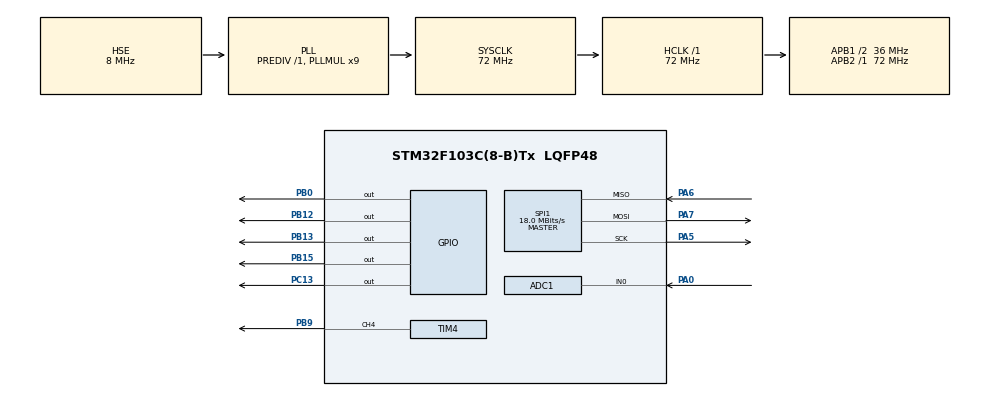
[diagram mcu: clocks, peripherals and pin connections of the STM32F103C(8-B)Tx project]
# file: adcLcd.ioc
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ADC1.Channel-0\#ChannelRegularConversion=ADC_CHANNEL_0
ADC1.DataAlign=ADC_DATAALIGN_LEFT
ADC1.ExternalTrigConv=ADC_EXTERNALTRIGCONV_T3_TRGO
ADC1.NbrOfConversionFlag=1
ADC1.Rank-0\#ChannelRegularConversion=1
ADC1.SamplingTime-0\#ChannelRegularConversion=ADC_SAMPLETIME_28CYCLES_5
ADC1.master=1
Dma.ADC1.0.Direction=DMA_PERIPH_TO_MEMORY
Dma.ADC1.0.Instance=DMA1_Channel1
Dma.ADC1.0.MemDataAlignment=DMA_MDATAALIGN_BYTE
Dma.ADC1.0.MemInc=DMA_MINC_ENABLE
Dma.ADC1.0.Mode=DMA_CIRCULAR
Dma.ADC1.0.PeriphDataAlignment=DMA_PDATAALIGN_BYTE
Dma.ADC1.0.PeriphInc=DMA_PINC_DISABLE
Dma.ADC1.0.Priority=DMA_PRIORITY_LOW
Dma.Request0=ADC1
Mcu.Family=STM32F1
Mcu.Name=STM32F103C(8-B)Tx
Mcu.Package=LQFP48
NVIC.ADC1_2_IRQn=true\:0\:0\:false\:false\:true\:true\:true
NVIC.DMA1_Channel1_IRQn=true\:0\:0\:false\:false\:true\:false\:true
NVIC.PriorityGroup=NVIC_PRIORITYGROUP_4
NVIC.TIM4_IRQn=true\:0\:0\:false\:false\:true\:true\:true
PA0-WKUP.Signal=ADCx_IN0
PA13.Mode=Serial_Wire
PA13.Signal=SYS_JTMS-SWDIO
PA14.Mode=Serial_Wire
PA14.Signal=SYS_JTCK-SWCLK
PA5.Mode=Full_Duplex_Master
PA5.Signal=SPI1_SCK
PA6.Mode=Full_Duplex_Master
PA6.Signal=SPI1_MISO
PA7.Mode=Full_Duplex_Master
PA7.Signal=SPI1_MOSI
PB0.Signal=GPIO_Output
PB12.Signal=GPIO_Output
PB13.Signal=GPIO_Output
PB15.Signal=GPIO_Output
PB9.Signal=S_TIM4_CH4
PC13-TAMPER-RTC.Signal=GPIO_Output
PD0-OSC_IN.Mode=HSE-External-Oscillator
PD0-OSC_IN.Signal=RCC_OSC_IN
PD1-OSC_OUT.Mode=HSE-External-Oscillator
PD1-OSC_OUT.Signal=RCC_OSC_OUT
ProjectManager.HeapSize=0x200
ProjectManager.StackSize=0x400
ProjectManager.TargetToolchain=STM32CubeIDE
RCC.ADCPresc=RCC_ADCPCLK2_DIV6
RCC.AHBFreq_Value=72000000
RCC.APB1CLKDivider=RCC_HCLK_DIV2
RCC.APB1Freq_Value=36000000
RCC.APB1TimFreq_Value=72000000
RCC.APB2Freq_Value=72000000
RCC.APB2TimFreq_Value=72000000
RCC.HCLKFreq_Value=72000000
RCC.PLLMUL=RCC_PLL_MUL9
RCC.PLLSourceVirtual=RCC_PLLSOURCE_HSE
RCC.SYSCLKFreq_VALUE=72000000
RCC.SYSCLKSource=RCC_SYSCLKSOURCE_PLLCLK
RCC.USBFreq_Value=72000000
SH.ADCx_IN0.0=ADC1_IN0,IN0
SH.S_TIM4_CH4.0=TIM4_CH4,PWM Generation4 CH4
SPI1.BaudRatePrescaler=SPI_BAUDRATEPRESCALER_4
SPI1.CalculateBaudRate=18.0 MBits/s
SPI1.Direction=SPI_DIRECTION_2LINES
SPI1.Mode=SPI_MODE_MASTER
SPI1.VirtualType=VM_MASTER
TIM2.Period=10000
TIM2.Prescaler=7200
TIM3.Period=1000
TIM3.Prescaler=9-1
TIM3.TIM_MasterOutputTrigger=TIM_TRGO_UPDATE
TIM4.Channel-PWM\ Generation4\ CH4=TIM_CHANNEL_4
TIM4.Period=1000-1
TIM4.Prescaler=9-1
TIM4.Pulse-PWM\ Generation4\ CH4=400
VP_TIM2_VS_ClockSourceINT.Mode=Internal
VP_TIM3_VS_ClockSourceINT.Mode=Internal
VP_TIM4_VS_ClockSourceINT.Mode=Internal
board=custom

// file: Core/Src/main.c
/* USER CODE BEGIN Header */
/**
  ******************************************************************************
  * @file           : main.c
  * @brief          : Main program body
  ******************************************************************************
  * @attention
  *
  * <h2><center>&copy; Copyright (c) 2020 STMicroelectronics.
  * All rights reserved.</center></h2>
  *
  * This software component is licensed by ST under BSD 3-Clause license,
  * the "License"; You may not use this file except in compliance with the
  * License. You may obtain a copy of the License at:
  *                        opensource.org/licenses/BSD-3-Clause
  *
  ******************************************************************************
  */
/* USER CODE END Header */
#include "main.h"

/* USER CODE BEGIN Includes */
#include "st7735.h"
#include "sine.h"

/* USER CODE END Includes */

/* USER CODE BEGIN PTD */
#define bufSize 256

/* USER CODE END PTD */

ADC_HandleTypeDef hadc1;
DMA_HandleTypeDef hdma_adc1;

SPI_HandleTypeDef hspi1;

TIM_HandleTypeDef htim2;
TIM_HandleTypeDef htim3;
TIM_HandleTypeDef htim4;

void SystemClock_Config(void);
static void MX_GPIO_Init(void);
static void MX_DMA_Init(void);
static void MX_TIM2_Init(void);
static void MX_SPI1_Init(void);
static void MX_ADC1_Init(void);
static void MX_TIM3_Init(void);
static void MX_TIM4_Init(void);

/* USER CODE BEGIN 0 */
uint8_t r = 0;

extern uint8_t sine[];
extern uint8_t line[];

uint8_t adcBuf[bufSize];
uint8_t printBuff[160];
volatile uint8_t playCnt;

void HAL_ADC_ConvCpltCallback(ADC_HandleTypeDef* hadc){
//	HAL_TIM_Base_Stop(&htim3);
//	ST7735_FillScreen(ST7735_BLACK);
//
//	ST7735_DrawLine(1, 1, 1, 32, ST7735_WHITE);

	for(int i = 0; i < 160; i++){
		uint8_t val = (127 + ((127 - adcBuf[i]) << 2))/2;
		ST7735_DrawPixel(val, i, ST7735_WHITE);
		printBuff[i] = val;
	}

	for(int i = 0; i < 160; i++){
		ST7735_DrawPixel(printBuff[i], i, ST7735_BLACK);
	}

//	HAL_Delay(1);

//	HAL_TIM_Base_Start(&htim3);

}

void HAL_TIM_PWM_PulseFinishedCallback(TIM_HandleTypeDef *htim){
//	HAL_GPIO_TogglePin(GPIOC, GPIO_PIN_13);

	TIM4->CCR4 = 0x7f + ((0x7f - adcBuf[playCnt]) << 1);
	playCnt = (playCnt + 1 );
//	TIM4->CCR4 = cnt++;
}

/* USER CODE END 0 */

int main(void)
{

  /* MCU Configuration--------------------------------------------------------*/

  /* Reset of all peripherals, Initializes the Flash interface and the Systick. */
  HAL_Init();

  /* Configure the system clock */
  SystemClock_Config();

  /* Initialize all configured peripherals */
  MX_GPIO_Init();
  MX_DMA_Init();
  MX_TIM2_Init();
  MX_SPI1_Init();
  MX_ADC1_Init();
  MX_TIM3_Init();
  MX_TIM4_Init();
  /* USER CODE BEGIN 2 */

  ST7735_Init();
  ST7735_Backlight_On();

  ST7735_SetRotation(r);

  ST7735_FillScreen(ST7735_BLACK);

  HAL_TIM_Base_Start(&htim3);
//  HAL_TIM_PWM_Start_IT(&htim4, TIM_CHANNEL_4);
  HAL_ADC_Start_DMA(&hadc1, adcBuf, bufSize);
  uint32_t ADC_DR = hdma_adc1.Instance->CPAR;
  hdma_adc1.Instance->CPAR = ADC_DR+1;

  playCnt = 0;
  /* USER CODE END 2 */

  /* Infinite loop */
  while (1)
  {

  }
}

void SystemClock_Config(void)
{
  RCC_OscInitTypeDef RCC_OscInitStruct = {0};
  RCC_ClkInitTypeDef RCC_ClkInitStruct = {0};
  RCC_PeriphCLKInitTypeDef PeriphClkInit = {0};

  /** Initializes the RCC Oscillators according to the specified parameters
  * in the RCC_OscInitTypeDef structure.
  */
  RCC_OscInitStruct.OscillatorType = RCC_OSCILLATORTYPE_HSE;
  RCC_OscInitStruct.HSEState = RCC_HSE_ON;
  RCC_OscInitStruct.HSEPredivValue = RCC_HSE_PREDIV_DIV1;
  RCC_OscInitStruct.HSIState = RCC_HSI_ON;
  RCC_OscInitStruct.PLL.PLLState = RCC_PLL_ON;
  RCC_OscInitStruct.PLL.PLLSource = RCC_PLLSOURCE_HSE;
  RCC_OscInitStruct.PLL.PLLMUL = RCC_PLL_MUL9;
  if (HAL_RCC_OscConfig(&RCC_OscInitStruct) != HAL_OK)
  {
    Error_Handler();
  }
  /** Initializes the CPU, AHB and APB buses clocks
  */
  RCC_ClkInitStruct.ClockType = RCC_CLOCKTYPE_HCLK|RCC_CLOCKTYPE_SYSCLK
                              |RCC_CLOCKTYPE_PCLK1|RCC_CLOCKTYPE_PCLK2;
  RCC_ClkInitStruct.SYSCLKSource = RCC_SYSCLKSOURCE_PLLCLK;
  RCC_ClkInitStruct.AHBCLKDivider = RCC_SYSCLK_DIV1;
  RCC_ClkInitStruct.APB1CLKDivider = RCC_HCLK_DIV2;
  RCC_ClkInitStruct.APB2CLKDivider = RCC_HCLK_DIV1;

  if (HAL_RCC_ClockConfig(&RCC_ClkInitStruct, FLASH_LATENCY_2) != HAL_OK)
  {
    Error_Handler();
  }
  PeriphClkInit.PeriphClockSelection = RCC_PERIPHCLK_ADC;
  PeriphClkInit.AdcClockSelection = RCC_ADCPCLK2_DIV6;
  if (HAL_RCCEx_PeriphCLKConfig(&PeriphClkInit) != HAL_OK)
  {
    Error_Handler();
  }
}

static void MX_ADC1_Init(void)
{

  ADC_ChannelConfTypeDef sConfig = {0};

  /** Common config
  */
  hadc1.Instance = ADC1;
  hadc1.Init.ScanConvMode = ADC_SCAN_DISABLE;
  hadc1.Init.ContinuousConvMode = DISABLE;
  hadc1.Init.DiscontinuousConvMode = DISABLE;
  hadc1.Init.ExternalTrigConv = ADC_EXTERNALTRIGCONV_T3_TRGO;
  hadc1.Init.DataAlign = ADC_DATAALIGN_LEFT;
  hadc1.Init.NbrOfConversion = 1;
  if (HAL_ADC_Init(&hadc1) != HAL_OK)
  {
    Error_Handler();
  }
  /** Configure Regular Channel
  */
  sConfig.Channel = ADC_CHANNEL_0;
  sConfig.Rank = ADC_REGULAR_RANK_1;
  sConfig.SamplingTime = ADC_SAMPLETIME_28CYCLES_5;
  if (HAL_ADC_ConfigChannel(&hadc1, &sConfig) != HAL_OK)
  {
    Error_Handler();
  }

}

static void MX_SPI1_Init(void)
{

  /* SPI1 parameter configuration*/
  hspi1.Instance = SPI1;
  hspi1.Init.Mode = SPI_MODE_MASTER;
  hspi1.Init.Direction = SPI_DIRECTION_2LINES;
  hspi1.Init.DataSize = SPI_DATASIZE_8BIT;
  hspi1.Init.CLKPolarity = SPI_POLARITY_LOW;
  hspi1.Init.CLKPhase = SPI_PHASE_1EDGE;
  hspi1.Init.NSS = SPI_NSS_SOFT;
  hspi1.Init.BaudRatePrescaler = SPI_BAUDRATEPRESCALER_4;
  hspi1.Init.FirstBit = SPI_FIRSTBIT_MSB;
  hspi1.Init.TIMode = SPI_TIMODE_DISABLE;
  hspi1.Init.CRCCalculation = SPI_CRCCALCULATION_DISABLE;
  hspi1.Init.CRCPolynomial = 10;
  if (HAL_SPI_Init(&hspi1) != HAL_OK)
  {
    Error_Handler();
  }

}

static void MX_TIM2_Init(void)
{

  TIM_ClockConfigTypeDef sClockSourceConfig = {0};
  TIM_MasterConfigTypeDef sMasterConfig = {0};

  htim2.Instance = TIM2;
  htim2.Init.Prescaler = 9-1;
  htim2.Init.CounterMode = TIM_COUNTERMODE_UP;
  htim2.Init.Period = 1000-1;
  htim2.Init.ClockDivision = TIM_CLOCKDIVISION_DIV1;
  htim2.Init.AutoReloadPreload = TIM_AUTORELOAD_PRELOAD_DISABLE;
  if (HAL_TIM_Base_Init(&htim2) != HAL_OK)
  {
    Error_Handler();
  }
  sClockSourceConfig.ClockSource = TIM_CLOCKSOURCE_INTERNAL;
  if (HAL_TIM_ConfigClockSource(&htim2, &sClockSourceConfig) != HAL_OK)
  {
    Error_Handler();
  }
  sMasterConfig.MasterOutputTrigger = TIM_TRGO_RESET;
  sMasterConfig.MasterSlaveMode = TIM_MASTERSLAVEMODE_DISABLE;
  if (HAL_TIMEx_MasterConfigSynchronization(&htim2, &sMasterConfig) != HAL_OK)
  {
    Error_Handler();
  }

}

static void MX_TIM3_Init(void)
{

  TIM_ClockConfigTypeDef sClockSourceConfig = {0};
  TIM_MasterConfigTypeDef sMasterConfig = {0};

  htim3.Instance = TIM3;
  htim3.Init.Prescaler = 9-1;
  htim3.Init.CounterMode = TIM_COUNTERMODE_UP;
  htim3.Init.Period = 1000-1;
  htim3.Init.ClockDivision = TIM_CLOCKDIVISION_DIV1;
  htim3.Init.AutoReloadPreload = TIM_AUTORELOAD_PRELOAD_DISABLE;
  if (HAL_TIM_Base_Init(&htim3) != HAL_OK)
  {
    Error_Handler();
  }
  sClockSourceConfig.ClockSource = TIM_CLOCKSOURCE_INTERNAL;
  if (HAL_TIM_ConfigClockSource(&htim3, &sClockSourceConfig) != HAL_OK)
  {
    Error_Handler();
  }
  sMasterConfig.MasterOutputTrigger = TIM_TRGO_UPDATE;
  sMasterConfig.MasterSlaveMode = TIM_MASTERSLAVEMODE_DISABLE;
  if (HAL_TIMEx_MasterConfigSynchronization(&htim3, &sMasterConfig) != HAL_OK)
  {
    Error_Handler();
  }

}

static void MX_TIM4_Init(void)
{

  TIM_ClockConfigTypeDef sClockSourceConfig = {0};
  TIM_MasterConfigTypeDef sMasterConfig = {0};
  TIM_OC_InitTypeDef sConfigOC = {0};

  htim4.Instance = TIM4;
  htim4.Init.Prescaler = 9-1;
  htim4.Init.CounterMode = TIM_COUNTERMODE_UP;
  htim4.Init.Period = 2000-1;
  htim4.Init.ClockDivision = TIM_CLOCKDIVISION_DIV1;
  htim4.Init.AutoReloadPreload = TIM_AUTORELOAD_PRELOAD_DISABLE;
  if (HAL_TIM_Base_Init(&htim4) != HAL_OK)
  {
    Error_Handler();
  }
  sClockSourceConfig.ClockSource = TIM_CLOCKSOURCE_INTERNAL;
  if (HAL_TIM_ConfigClockSource(&htim4, &sClockSourceConfig) != HAL_OK)
  {
    Error_Handler();
  }
  if (HAL_TIM_PWM_Init(&htim4) != HAL_OK)
  {
    Error_Handler();
  }
  sMasterConfig.MasterOutputTrigger = TIM_TRGO_RESET;
  sMasterConfig.MasterSlaveMode = TIM_MASTERSLAVEMODE_DISABLE;
  if (HAL_TIMEx_MasterConfigSynchronization(&htim4, &sMasterConfig) != HAL_OK)
  {
    Error_Handler();
  }
  sConfigOC.OCMode = TIM_OCMODE_PWM1;
  sConfigOC.Pulse = 400;
  sConfigOC.OCPolarity = TIM_OCPOLARITY_HIGH;
  sConfigOC.OCFastMode = TIM_OCFAST_DISABLE;
  if (HAL_TIM_PWM_ConfigChannel(&htim4, &sConfigOC, TIM_CHANNEL_4) != HAL_OK)
  {
    Error_Handler();
  }
  HAL_TIM_MspPostInit(&htim4);

}

static void MX_DMA_Init(void)
{

  /* DMA controller clock enable */
  __HAL_RCC_DMA1_CLK_ENABLE();

  /* DMA interrupt init */
  /* DMA1_Channel1_IRQn interrupt configuration */
  HAL_NVIC_SetPriority(DMA1_Channel1_IRQn, 0, 0);
  HAL_NVIC_EnableIRQ(DMA1_Channel1_IRQn);

}

static void MX_GPIO_Init(void)
{
  GPIO_InitTypeDef GPIO_InitStruct = {0};

  /* GPIO Ports Clock Enable */
  __HAL_RCC_GPIOC_CLK_ENABLE();
  __HAL_RCC_GPIOD_CLK_ENABLE();
  __HAL_RCC_GPIOA_CLK_ENABLE();
  __HAL_RCC_GPIOB_CLK_ENABLE();

  /*Configure GPIO pin Output Level */
  HAL_GPIO_WritePin(GPIOC, GPIO_PIN_13, GPIO_PIN_RESET);

  /*Configure GPIO pin Output Level */
  HAL_GPIO_WritePin(GPIOB, GPIO_PIN_0|GPIO_PIN_12|GPIO_PIN_13|GPIO_PIN_15, GPIO_PIN_RESET);

  /*Configure GPIO pin : PC13 */
  GPIO_InitStruct.Pin = GPIO_PIN_13;
  GPIO_InitStruct.Mode = GPIO_MODE_OUTPUT_PP;
  GPIO_InitStruct.Pull = GPIO_NOPULL;
  GPIO_InitStruct.Speed = GPIO_SPEED_FREQ_LOW;
  HAL_GPIO_Init(GPIOC, &GPIO_InitStruct);

  /*Configure GPIO pins : PB0 PB12 PB13 PB15 */
  GPIO_InitStruct.Pin = GPIO_PIN_0|GPIO_PIN_12|GPIO_PIN_13|GPIO_PIN_15;
  GPIO_InitStruct.Mode = GPIO_MODE_OUTPUT_PP;
  GPIO_InitStruct.Pull = GPIO_NOPULL;
  GPIO_InitStruct.Speed = GPIO_SPEED_FREQ_LOW;
  HAL_GPIO_Init(GPIOB, &GPIO_InitStruct);

}

void Error_Handler(void)
{
}

/************************ (C) COPYRIGHT STMicroelectronics *****END OF FILE****/
